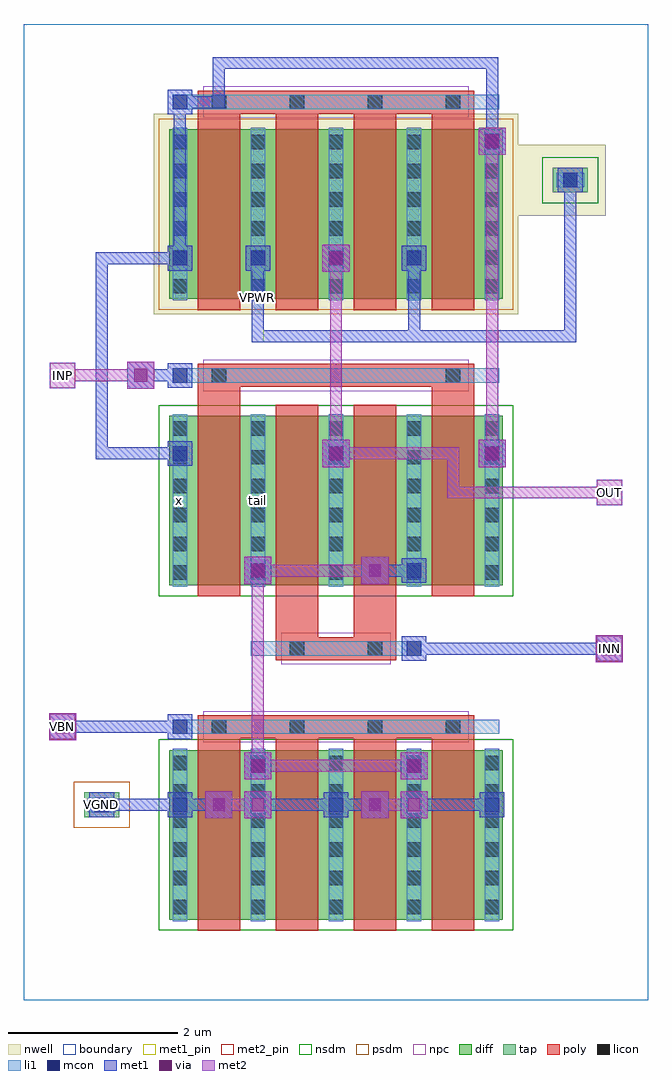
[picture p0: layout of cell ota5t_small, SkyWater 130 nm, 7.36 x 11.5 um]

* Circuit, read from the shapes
.subckt ota5t_small INN INP OUT VBN VGND VPWR tail x
XM1 tail VBN VGND VGND sky130_fd_pr__nfet_01v8 w=2 l=0.5 m=4
XM2 tail INP x VGND sky130_fd_pr__nfet_01v8 w=2 l=0.5 m=2
XM3 OUT INN tail VGND sky130_fd_pr__nfet_01v8 w=2 l=0.5 m=2
XM4 VPWR x x VPWR sky130_fd_pr__pfet_01v8 w=2 l=0.5 m=2
XM5 OUT x VPWR VPWR sky130_fd_pr__pfet_01v8 w=2 l=0.5 m=2
.ends

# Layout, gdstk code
import gdstk
lib = gdstk.Library(unit=1e-6, precision=1e-09)
def R(c, l, rs):  # rectangles x0, y0, x1, y1
    for r in rs: c.add(gdstk.rectangle(r[:2], r[2:], *l))
def A(c, l, x, y, w, h, nx, ny, dx, dy):  # array of equal rectangles
    R(c, l, [(x+i*dx, y+j*dy, x+i*dx+w, y+j*dy+h) for i in range(nx) for j in range(ny)])
nwell = (64, 20)
diff = (65, 20)
tap = (65, 44)
poly = (66, 20)
licon = (66, 44)
li1 = (67, 20)
mcon = (67, 44)
met1_pin = (68, 16)
met1 = (68, 20)
via = (68, 44)
met2_pin = (69, 16)
met2 = (69, 20)
nsdm = (93, 44)
psdm = (94, 20)
npc = (95, 20)
boundary = (235, 4)

ota5t_small = lib.new_cell('ota5t_small')
R(ota5t_small, nwell, [(1.535,8.08,5.825,9.24), (1.535,9.24,6.86,10.08), (1.535,10.08,5.825,10.44)])
R(ota5t_small, diff, [(1.715,0.945,5.645,2.945), (1.715,4.885,5.645,6.885), (1.715,8.26,5.645,10.26)])
R(ota5t_small, tap, [(0.715,2.155,1.125,2.445), (6.235,9.515,6.645,9.805)])
A(ota5t_small, poly, 2.05, 0.815, 0.5, 2.405, 4, 1, 0.92, 0)
A(ota5t_small, poly, 2.05, 8.13, 0.5, 2.45, 4, 1, 0.92, 0)
R(ota5t_small, poly, [(2.05,3.085,5.31,3.355), (2.97,4.005,4.39,4.275), (2.97,4.14,3.47,7.015), (3.89,4.14,4.39,7.015), (2.05,4.755,2.55,7.36), (4.81,4.755,5.31,7.36), (2.05,7.225,5.31,7.495), (2.05,10.445,5.31,10.715)])
A(ota5t_small, licon, 1.755, 1.01, 0.17, 0.17, 5, 6, 0.92, 0.34)
A(ota5t_small, licon, 2.215, 3.135, 0.17, 0.17, 4, 2, 0.92, 7.36)
A(ota5t_small, licon, 1.755, 4.95, 0.17, 0.17, 5, 6, 0.92, 0.34)
A(ota5t_small, licon, 1.755, 8.325, 0.17, 0.17, 5, 6, 0.92, 0.34)
R(ota5t_small, licon, [(0.835,2.215,1.005,2.385), (3.135,4.055,3.305,4.225), (4.055,4.055,4.225,4.225), (2.215,7.275,2.385,7.445), (4.975,7.275,5.145,7.445), (6.355,9.575,6.525,9.745)])
A(ota5t_small, li1, 1.755, 0.93, 0.17, 2.03, 5, 2, 0.92, 3.94)
A(ota5t_small, li1, 1.755, 8.245, 0.17, 2.03, 5, 1, 0.92, 0)
R(ota5t_small, li1, [(0.755,2.215,1.085,2.385), (1.755,3.135,5.605,3.305), (2.675,4.055,4.685,4.225), (1.755,7.275,5.605,7.445), (6.275,9.575,6.605,9.745), (1.755,10.495,5.605,10.665)])
A(ota5t_small, mcon, 1.755, 2.215, 0.17, 0.17, 3, 2, 1.84, 4.14)
A(ota5t_small, mcon, 1.755, 8.655, 0.17, 0.17, 4, 1, 0.92, 0)
R(ota5t_small, mcon, [(0.835,2.215,1.005,2.385), (2.675,2.675,2.845,2.845), (4.515,2.675,4.685,2.845), (1.755,3.135,1.925,3.305), (4.515,4.055,4.685,4.225), (2.675,4.975,2.845,5.145), (4.515,4.975,4.685,5.145), (1.755,7.275,1.925,7.445), (6.355,9.575,6.525,9.745), (5.435,10.035,5.605,10.205), (1.755,10.495,1.925,10.665)])
R(ota5t_small, met1_pin, [(0.85,2.23,0.99,2.37), (2.69,7.75,2.83,8.81)])
A(ota5t_small, met1, 1.695, 2.155, 0.29, 0.29, 3, 2, 1.84, 4.14)
A(ota5t_small, met1, 0.85, 2.23, 1.06, 0.14, 3, 1, 1.84, 0)
A(ota5t_small, met1, 1.695, 8.595, 0.29, 0.29, 4, 1, 0.92, 0)
R(ota5t_small, met1, [(2.14,2.14,2.46,2.46), (2.6,2.14,2.92,2.46), (3.98,2.14,4.3,2.46), (4.44,2.14,4.76,2.46), (0.775,2.155,1.065,2.445), (0.85,2.23,0.99,2.37), (1.77,2.23,2.37,2.37), (3.61,2.23,4.21,2.37), (2.6,2.6,2.92,2.92), (4.44,2.6,4.76,2.92), (2.615,2.615,2.905,2.905), (4.455,2.615,4.745,2.905), (0.3,3.06,0.62,3.38), (1.695,3.075,1.985,3.365), (0.39,3.15,1.91,3.29), (6.74,3.98,7.06,4.3), (4.455,3.995,4.745,4.285), (4.53,4.07,6.97,4.21), (2.6,4.9,2.92,5.22), (3.98,4.9,4.3,5.22), (2.615,4.915,2.905,5.205), (4.455,4.915,4.745,5.205), (4.07,4.99,4.67,5.13), (3.52,6.28,3.84,6.6), (5.36,6.28,5.68,6.6), (0.85,6.37,1.91,6.51), (0.85,6.37,0.99,8.81), (1.22,7.2,1.54,7.52), (1.695,7.215,1.985,7.505), (1.31,7.29,1.91,7.43), (2.69,7.75,2.83,8.81), (2.69,7.75,4.67,7.89), (4.53,7.75,4.67,8.81), (4.53,7.75,6.51,7.89), (6.37,7.75,6.51,9.73), (3.52,8.58,3.84,8.9), (0.85,8.67,1.91,8.81), (1.77,8.67,1.91,10.65), (6.295,9.515,6.585,9.805), (6.37,9.59,6.51,9.73), (5.36,9.96,5.68,10.28), (5.375,9.975,5.665,10.265), (5.45,10.05,5.59,11.11), (1.695,10.435,1.985,10.725), (1.77,10.51,2.37,10.65), (2.23,10.51,2.37,11.11), (2.23,10.97,5.59,11.11)])
R(ota5t_small, via, [(2.225,2.225,2.375,2.375), (2.685,2.225,2.835,2.375), (4.065,2.225,4.215,2.375), (4.525,2.225,4.675,2.375), (2.685,2.685,2.835,2.835), (4.525,2.685,4.675,2.835), (0.385,3.145,0.535,3.295), (6.825,4.065,6.975,4.215), (2.685,4.985,2.835,5.135), (4.065,4.985,4.215,5.135), (3.605,6.365,3.755,6.515), (5.445,6.365,5.595,6.515), (1.305,7.285,1.455,7.435), (3.605,8.665,3.755,8.815), (5.445,10.045,5.595,10.195)])
R(ota5t_small, met2_pin, [(0.31,3.07,0.61,3.37), (6.75,3.99,7.05,4.29), (6.75,5.83,7.05,6.13), (0.31,7.21,0.61,7.51)])
R(ota5t_small, met2, [(2.14,2.14,2.46,2.46), (2.6,2.14,2.92,2.46), (3.98,2.14,4.3,2.46), (4.44,2.14,4.76,2.46), (2.23,2.23,2.83,2.37), (4.07,2.23,4.67,2.37), (2.6,2.6,2.92,2.92), (4.44,2.6,4.76,2.92), (2.69,2.69,2.83,5.13), (2.69,2.69,4.67,2.83), (0.3,3.06,0.62,3.38), (0.31,3.07,0.61,3.37), (0.39,3.15,0.53,3.29), (6.74,3.98,7.06,4.3), (6.75,3.99,7.05,4.29), (6.83,4.07,6.97,4.21), (2.6,4.9,2.92,5.22), (3.98,4.9,4.3,5.22), (2.69,4.99,4.21,5.13), (6.75,5.83,7.05,6.13), (4.99,5.91,6.97,6.05), (4.99,5.91,5.13,6.51), (6.83,5.91,6.97,6.05), (3.52,6.28,3.84,6.6), (5.36,6.28,5.68,6.6), (3.61,6.37,3.75,8.81), (3.61,6.37,5.13,6.51), (5.45,6.37,5.59,10.19), (1.22,7.2,1.54,7.52), (0.31,7.21,0.61,7.51), (0.39,7.29,0.53,7.43), (0.39,7.29,1.45,7.43), (3.52,8.58,3.84,8.9), (5.36,9.96,5.68,10.28)])
R(ota5t_small, nsdm, [(1.59,0.82,5.77,3.07), (1.59,4.76,5.77,7.01), (6.11,9.39,6.77,9.93)])
R(ota5t_small, psdm, [(0.59,2.03,1.25,2.57), (1.59,8.135,5.77,10.385)])
R(ota5t_small, npc, [(2.115,3.035,5.245,3.405), (3.035,3.955,4.325,4.325), (2.115,7.175,5.245,7.545), (2.115,10.395,5.245,10.765)])
R(ota5t_small, boundary, [(0,0,7.36,11.5)])
ota5t_small.add(gdstk.Label('x', (1.84,5.885), layer=67, texttype=5))
ota5t_small.add(gdstk.Label('tail', (2.76,5.885), layer=67, texttype=5))
ota5t_small.add(gdstk.Label('VPWR', (2.76,8.28), layer=68, texttype=5))
ota5t_small.add(gdstk.Label('VGND', (0.92,2.3), layer=68, texttype=5))
ota5t_small.add(gdstk.Label('INP', (0.46,7.36), layer=69, texttype=5))
ota5t_small.add(gdstk.Label('INN', (6.9,4.14), layer=69, texttype=5))
ota5t_small.add(gdstk.Label('VBN', (0.46,3.22), layer=69, texttype=5))
ota5t_small.add(gdstk.Label('OUT', (6.9,5.98), layer=69, texttype=5))
ota5t_small.add(gdstk.Label('VPWR', (2.76,8.28), layer=68, texttype=16))
ota5t_small.add(gdstk.Label('VGND', (0.92,2.3), layer=68, texttype=16))
ota5t_small.add(gdstk.Label('INP', (0.46,7.36), layer=69, texttype=16))
ota5t_small.add(gdstk.Label('INN', (6.9,4.14), layer=69, texttype=16))
ota5t_small.add(gdstk.Label('VBN', (0.46,3.22), layer=69, texttype=16))
ota5t_small.add(gdstk.Label('OUT', (6.9,5.98), layer=69, texttype=16))

lib.write_gds('ota5t_small.gds')
